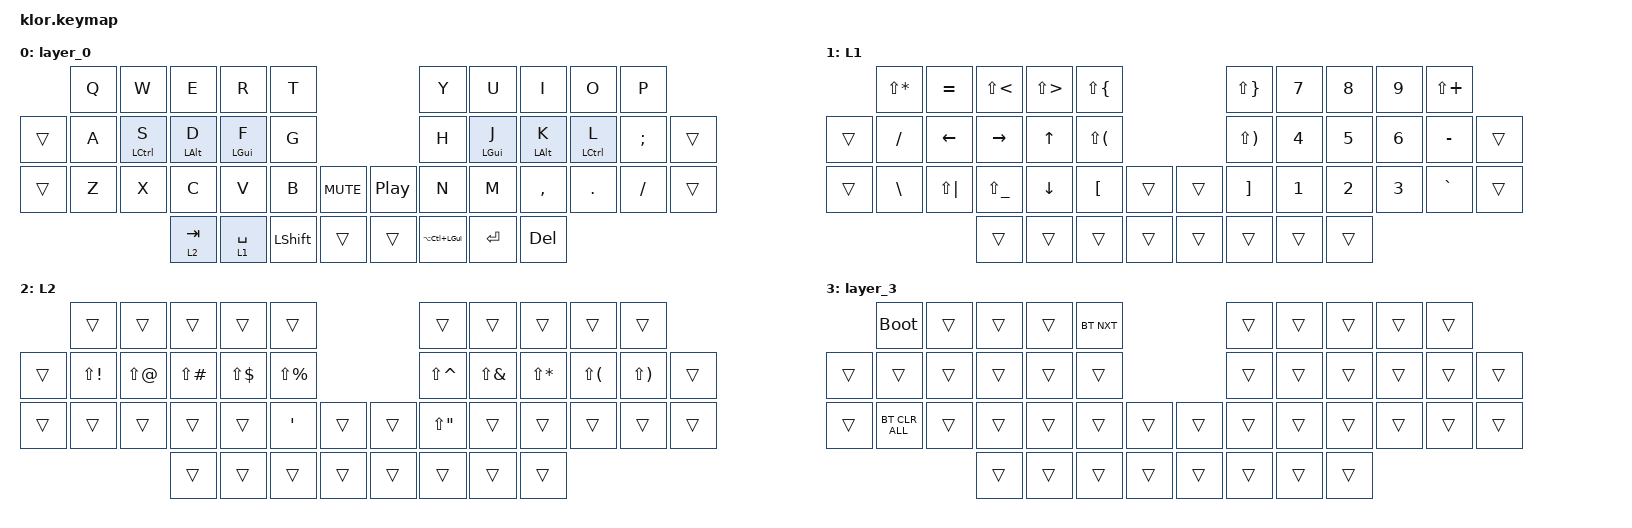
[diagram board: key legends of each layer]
//                               █         █    █            ▄▄▄▀▀▀▀▀▀▄▄▄        █▀▀▀▀▀▀▀▀▀▀█
//                               █        █     █          ▄▀            ▀▄      █          █
//                               █       █      █        ▄▀                ▀▄    █          █
//                               █      █       █        █                  █    █          █
//                               █     █        █       █                    █   █          █
//                               █    █         █       █                    █   █▄▄▄▄▄▄▄▄▄▄█
//                               █   █ █        █       █                    █   █      █
//                               █  █   █       █        █                  █    █       █
//                               █ █     █      █        ▀▄                ▄▀    █        █
//                               ██       █     █          ▀▄            ▄▀      █         █
//                               █         █    █▄▄▄▄▄▄▄▄    ▀▀▀▄▄▄▄▄▄▀▀▀        █          █
//
// ▄▄▄▄▄▄▄▄▄▄▄▄▄▄▄▄▄▄▄▄▄▄▄▄▄▄▄▄▄▄▄▄▄▄▄▄▄▄▄▄▄▄▄▄▄▄▄▄▄▄▄▄▄▄▄▄▄▄▄▄▄▄▄▄▄▄▄▄▄▄▄▄▄▄▄▄▄▄▄▄▄▄▄▄▄▄▄▄▄▄▄▄▄▄▄▄▄▄▄▄▄▄▄▄▄▄▄▄▄▄▄▄▄▄▄▄▄▄▄▄▄▄▄▄▄

#include <behaviors.dtsi>
#include <dt-bindings/zmk/bt.h>
#include <dt-bindings/zmk/keys.h>

#define BASE   0
#define LOWER  1
#define RAISE  2
#define ADJUST 3

/ {
    behaviors {
        hm: homerow_mods {
            compatible = "zmk,behavior-hold-tap";
            label = "HOMEROW_MODS";
            #binding-cells = <2>;
            tapping-term-ms = <150>;
            quick_tap_ms = <0>;
            flavor = "tap-preferred";
            bindings = <&kp>, <&kp>;
        };
    };

    combos {
        compatible = "zmk,combos";

        combo_esc {
            timeout-ms = <50>;
            key-positions = <0 1>;
            bindings = <&kp ESC>;
        };
    };

    keymap {
        compatible = "zmk,keymap";

        // ▄▄▄▄▄▄▄▄▄▄▄▄▄▄▄▄▄▄▄▄▄▄▄▄▄▄▄▄▄▄▄▄▄▄▄▄▄▄▄▄▄▄▄▄▄▄▄▄▄▄▄▄▄▄▄▄▄▄▄▄▄▄▄▄▄▄▄▄▄▄▄▄▄▄▄▄▄▄▄▄▄▄▄▄▄▄▄▄▄▄▄▄▄▄▄▄▄▄▄▄▄▄▄▄▄▄▄▄▄▄▄▄▄▄▄▄▄▄▄▄▄▄▄▄▄▄▄▄▄▄▄▄▄▄▄▄▄▄▄▄▄▄
        // ▄▄▄▄▄▄▄▄▄▄▄▄▄▄▄▄▄▄▄▄▄▄▄▄▄▄▄▄▄▄▄▄▄▄▄▄▄▄▄▄▄▄▄▄▄▄▄▄▄▄▄▄▄▄▄▄▄▄▄▄▄▄▄▄▄▄▄▄▄▄▄▄▄▄▄▄▄▄▄▄▄▄▄▄▄▄▄▄▄▄▄▄▄▄▄▄▄▄▄▄▄▄▄▄▄▄▄▄▄▄▄▄▄▄▄▄▄▄▄▄▄▄▄▄▄▄▄▄▄▄▄▄▄▄▄▄▄▄▄▄▄▄
        // ▄▄▄▄▄▄▄▄▄▄▄▄▄▄▄▄▄▄▄▄▄▄▄▄▄▄▄▄▄▄▄▄▄▄▄▄▄▄▄▄▄▄▄▄▄▄▄▄▄▄▄▄▄▄▄▄▄▄▄▄▄▄▄▄▄▄▄▄▄▄▄▄▄▄▄▄▄▄▄▄▄▄▄▄▄▄▄▄▄▄▄▄▄▄▄▄▄▄▄▄▄▄▄▄▄▄▄▄▄▄▄▄▄▄▄▄▄▄▄▄▄▄▄▄▄
        // ▄▄▄▄▄▄▄▄▄▄▄▄▄▄▄▄▄▄▄▄▄▄▄▄▄▄▄▄▄▄▄▄▄▄▄▄▄▄▄▄▄▄▄▄▄▄▄▄▄▄▄▄▄▄▄▄▄▄▄▄▄▄▄▄▄▄▄▄▄▄▄▄▄▄▄▄▄▄▄▄▄▄▄▄▄▄▄▄▄▄▄▄▄▄▄▄▄▄▄▄▄▄▄▄▄▄▄▄▄▄▄▄▄▄▄▄▄▄▄▄▄▄▄▄▄

        layer_0 {
            bindings = <
        &kp Q  &kp W               &kp E           &kp R        &kp T                                         &kp Y             &kp U       &kp I           &kp O               &kp P
&trans  &kp A  &hm LEFT_CONTROL S  &hm LEFT_ALT D  &hm LGUI F   &kp G                                         &kp H             &hm LGUI J  &hm LEFT_ALT K  &hm LEFT_CONTROL L  &kp SEMI  &trans
&trans  &kp Z  &kp X               &kp C           &kp V        &kp B           &kp C_MUTE  &kp C_PLAY_PAUSE  &kp N             &kp M       &kp COMMA       &kp DOT             &kp FSLH  &trans
                                   &lt 2 TAB       &lt 1 SPACE  &kp LEFT_SHIFT  &trans      &trans            &kp LA(LC(LGUI))  &kp ENTER   &kp DELETE
            >;
        };

        L1 {
            bindings = <
        &kp LS(STAR)  &kp EQUAL     &kp LS(LT)     &kp LS(GT)  &kp LS(LBRC)                  &kp LS(RBRC)  &kp N7  &kp N8  &kp N9  &kp LS(PLUS)
&trans  &kp FSLH      &kp LEFT      &kp RIGHT      &kp UP      &kp LS(LPAR)                  &kp LS(RPAR)  &kp N4  &kp N5  &kp N6  &kp MINUS     &trans
&trans  &kp BSLH      &kp LS(PIPE)  &kp LS(UNDER)  &kp DOWN    &kp LBKT      &trans  &trans  &kp RBKT      &kp N1  &kp N2  &kp N3  &kp GRAVE     &trans
                                    &trans         &trans      &trans        &trans  &trans  &trans        &trans  &trans
            >;
        };

        L2 {
            bindings = <
        &trans        &trans      &trans         &trans        &trans                         &trans         &trans        &trans        &trans        &trans
&trans  &kp LS(EXCL)  &kp LS(AT)  &kp LS(POUND)  &kp LS(DLLR)  &kp LS(PRCNT)                  &kp LS(CARET)  &kp LS(AMPS)  &kp LS(STAR)  &kp LS(LPAR)  &kp LS(RPAR)  &trans
&trans  &trans        &trans      &trans         &trans        &kp SQT        &trans  &trans  &kp LS(DQT)    &trans        &trans        &trans        &trans        &trans
                                  &trans         &trans        &trans         &trans  &trans  &trans         &trans        &trans
            >;
        };

        layer_3 {
            bindings = <
        &bootloader     &trans  &trans  &trans  &bt BT_NXT                  &trans  &trans  &trans  &trans  &trans
&trans  &trans          &trans  &trans  &trans  &trans                      &trans  &trans  &trans  &trans  &trans  &trans
&trans  &bt BT_CLR_ALL  &trans  &trans  &trans  &trans      &trans  &trans  &trans  &trans  &trans  &trans  &trans  &trans
                                &trans  &trans  &trans      &trans  &trans  &trans  &trans  &trans
            >;
        };
    };

    conditional_layers {
        compatible = "zmk,conditional-layers";

        boot {
            if-layers = <1 2>;
            then-layer = <3>;
        };
    };
};
